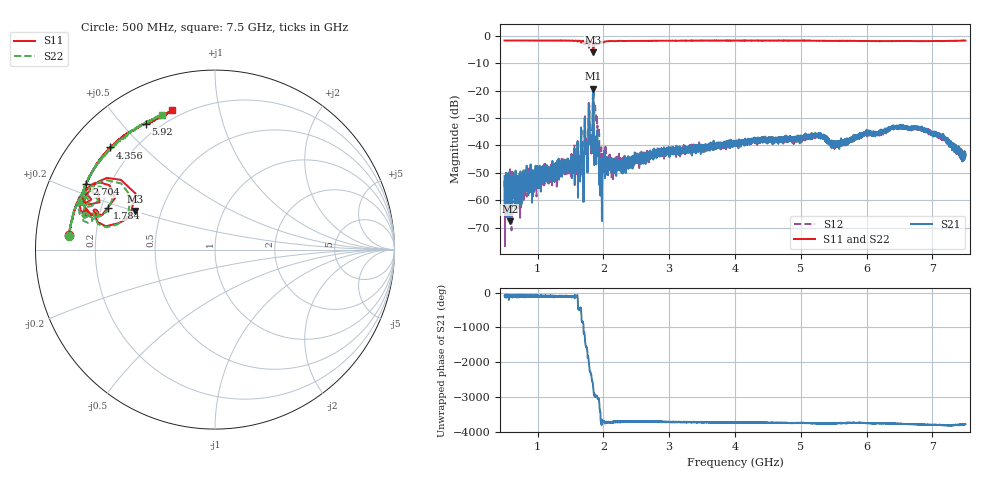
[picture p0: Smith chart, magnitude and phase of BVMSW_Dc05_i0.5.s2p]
!Keysight Technologies,M9374A,MY55442783,A.12.55.05
!Date: Thursday, May 20, 2021 18:36:57
!Correction: S11(Full 2 Port(1,2))
!S21(Full 2 Port(1,2))
!S12(Full 2 Port(1,2))
!S22(Full 2 Port(1,2))
!S2P File: Measurements: S11, S21, S12, S22:
# Hz S  RI  R 50
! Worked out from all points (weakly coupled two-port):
!   7001 points, 500 MHz to 7.5 GHz, reference 50 ohm
!   highest |S21| = -19.30 dB at 1.845 GHz (marker M1); lowest = -67.7 dB at 579 MHz (marker M2)
!   lowest |S11| = -6.1 dB at 1.846 GHz (marker M3), VSWR 2.95, Z = 17.7 + j10.1 ohm
!   |S11| at or under -10 dB: nowhere
!   |S22| runs from -5.8 to -1.7 dB; largest |S21 - S12| = 0.05
!   S11 on the Smith chart (normalised r, x): 500 MHz: 0.10, +0.05; 1.784 GHz: 0.23, +0.18; 2.704 GHz: 0.11, +0.24; 4.356 GHz: 0.12, +0.40; 5.92 GHz: 0.15, +0.58; 7.5 GHz: 0.16, +0.73
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5e8  -0.8118 0.0826  -0.000252 -0.00277  0.00143 -0.00107  -0.8139 0.0764
5.79e8  -0.8101 0.0932  8.25e-05 -0.000402  -0.000407 -0.00137  -0.8108 0.089
1.667e9  -0.7133 0.2535  0.00969 0.00495  0.00949 0.00452  -0.7103 0.2408
1.784e9  -0.5977 0.2343  0.00658 0.0373  0.00466 0.0449  -0.5963 0.2174
1.817e9  -0.7019 0.326  -0.0088 0.00659  -0.00206 0.00681  -0.7045 0.3087
1.845e9  -0.4349 0.2659  -0.1066 0.0198  -0.1109 0.0211  -0.4607 0.2602
1.846e9  -0.4443 0.2151  -0.0858 0.0644  -0.0911 0.0648  -0.4657 0.2189
1.876e9  -0.6678 0.2053  -0.00443 -0.00946  -0.0502 0.00477  -0.6747 0.1901
1.95e9  -0.7296 0.2029  -0.00516 -0.0015  -0.0041 -0.00284  -0.7394 0.1939
1.976e9  -0.7254 0.2011  -0.00116 -0.000536  -0.00236 -0.000606  -0.7406 0.188
2.018e9  -0.7433 0.2107  -0.00513 -0.00536  -0.000347 -0.00581  -0.7482 0.1889
2.147e9  -0.7463 0.2779  -0.00273 -0.00166  -0.000201 -0.00395  -0.7532 0.2555
2.704e9  -0.716 0.3656  -0.00204 -0.00724  -0.00293 -0.00703  -0.7267 0.3451
2.834e9  -0.7087 0.3834  -0.00365 -0.00612  -0.00328 -0.00641  -0.7218 0.363
4e9  -0.6151 0.5337  -0.00723 -0.00801  -0.00739 -0.00885  -0.6323 0.502
4.356e9  -0.5824 0.5693  -0.00913 -0.00756  -0.00898 -0.008  -0.6006 0.544
5.167e9  -0.4829 0.6483  -0.0139 -0.00792  -0.0133 -0.00661  -0.5296 0.6104
5.51e9  -0.4481 0.6696  -0.00916 -0.00355  -0.00997 -0.00414  -0.4977 0.6308
5.92e9  -0.3854 0.7015  -0.0125 -0.00818  -0.012 -0.00756  -0.4609 0.6654
6.334e9  -0.3487 0.7149  -0.0178 -0.00651  -0.0186 -0.0065  -0.4156 0.693
6.817e9  -0.3019 0.7345  -0.0193 0.00455  -0.019 0.0047  -0.3664 0.7129
7.5e9  -0.2403 0.7771  -0.00668 0.000256  -0.00634 4.66e-05  -0.2946 0.7514
